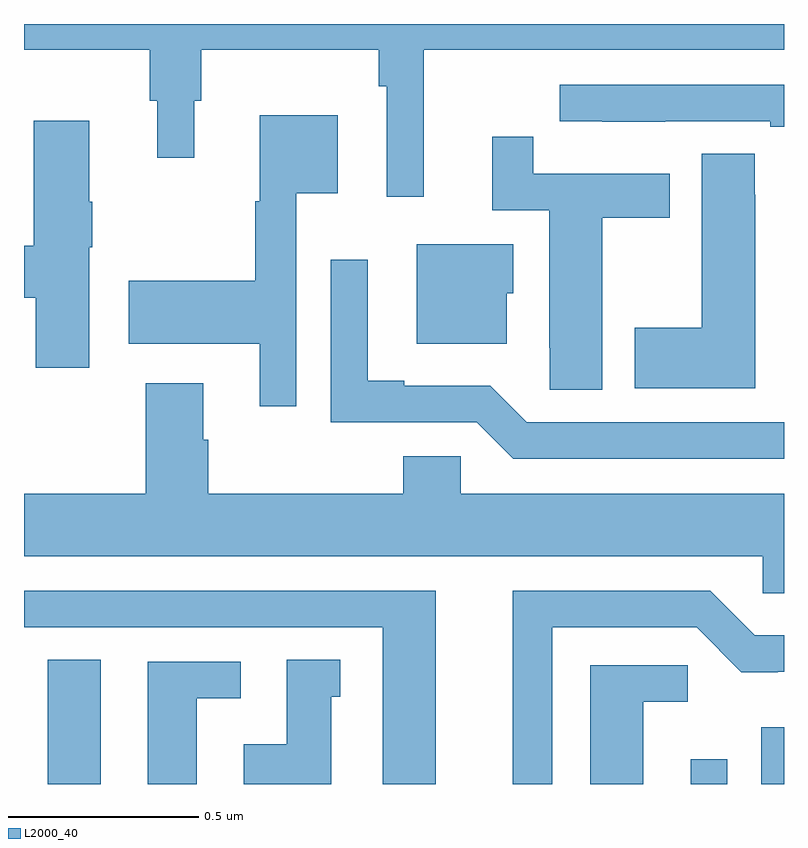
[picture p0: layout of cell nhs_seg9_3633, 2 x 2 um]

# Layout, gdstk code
import gdstk
lib = gdstk.Library(unit=1e-6, precision=1e-09)
def R(c, l, rs):  # rectangles x0, y0, x1, y1
    for r in rs: c.add(gdstk.rectangle(r[:2], r[2:], *l))
def P(c, l, *ps):  # polygons
    for p in ps: c.add(gdstk.Polygon(p, *l))
L2000_40 = (2000, 40)

nhs_seg9_3633 = lib.new_cell('nhs_seg9_3633')
R(nhs_seg9_3633, L2000_40, [(156.062,1182.5,156.202,1182.827), (157.755,1182.5,157.851,1182.565), (157.94,1182.5,158,1182.649)])
P(nhs_seg9_3633, L2000_40, [(157.052,1184.432),(158,1184.432),(158,1184.5),(156,1184.5),(156,1184.432),(156.331,1184.432),(156.331,1184.298),(156.35,1184.298),(156.35,1184.148),(156.448,1184.148),(156.448,1184.298),(156.467,1184.298),(156.467,1184.432),(156.934,1184.432),(156.934,1184.336),(156.954,1184.336),(156.954,1184.046),(157.052,1184.046)],
  [(158,1184.34),(157.41,1184.34),(157.41,1184.244),(157.522,1184.244),(157.522,1184.243),(157.688,1184.243),(157.688,1184.244),(157.964,1184.244),(157.964,1184.229),(158,1184.229)],
  [(156.717,1184.054),(156.826,1184.054),(156.826,1184.26),(156.62,1184.26),(156.62,1184.034),(156.609,1184.034),(156.609,1183.824),(156.276,1183.824),(156.276,1183.658),(156.62,1183.658),(156.62,1183.494),(156.717,1183.494)],
  [(156.172,1183.912),(156.18,1183.912),(156.18,1184.032),(156.172,1184.032),(156.172,1184.245),(156.026,1184.245),(156.026,1183.916),(156,1183.916),(156,1183.78),(156.031,1183.78),(156.031,1183.596),(156.172,1183.596)],
  [(157.522,1183.99),(157.699,1183.99),(157.699,1184.106),(157.34,1184.106),(157.34,1184.203),(157.232,1184.203),(157.232,1184.01),(157.382,1184.01),(157.382,1183.648),(157.383,1183.648),(157.383,1183.537),(157.522,1183.537)],
  [(157.924,1184.051),(157.923,1184.051),(157.923,1184.159),(157.784,1184.159),(157.784,1183.701),(157.607,1183.701),(157.607,1183.541),(157.924,1183.541)],
  [(157.27,1183.791),(157.288,1183.791),(157.288,1183.921),(157.034,1183.921),(157.034,1183.658),(157.27,1183.658)],
  [(158,1183.452),(157.323,1183.452),(157.227,1183.548),(157,1183.548),(157,1183.561),(156.904,1183.561),(156.904,1183.879),(156.807,1183.879),(156.807,1183.452),(157.191,1183.452),(157.287,1183.356),(158,1183.356)],
  [(158,1183.264),(157.149,1183.264),(157.149,1183.362),(156.998,1183.362),(156.998,1183.264),(156.485,1183.264),(156.485,1183.406),(156.472,1183.406),(156.472,1183.555),(156.32,1183.555),(156.32,1183.264),(156,1183.264),(156,1183.1),(157.944,1183.1),(157.944,1183.002),(158,1183.002)],
  [(157.084,1183.008),(156,1183.008),(156,1182.912),(156.944,1182.912),(156.944,1182.5),(157.084,1182.5)],
  [(157.39,1182.912),(157.77,1182.912),(157.888,1182.794),(157.984,1182.794),(157.984,1182.795),(158,1182.795),(158,1182.891),(157.923,1182.891),(157.806,1183.008),(157.286,1183.008),(157.286,1182.5),(157.39,1182.5)],
  [(156.808,1182.729),(156.832,1182.729),(156.832,1182.827),(156.692,1182.827),(156.692,1182.604),(156.578,1182.604),(156.578,1182.5),(156.808,1182.5)],
  [(156.454,1182.726),(156.571,1182.726),(156.571,1182.822),(156.326,1182.822),(156.326,1182.5),(156.454,1182.5)],
  [(157.63,1182.716),(157.747,1182.716),(157.747,1182.813),(157.49,1182.813),(157.49,1182.5),(157.63,1182.5)])

lib.write_gds('nhs_seg9_3633.gds')
